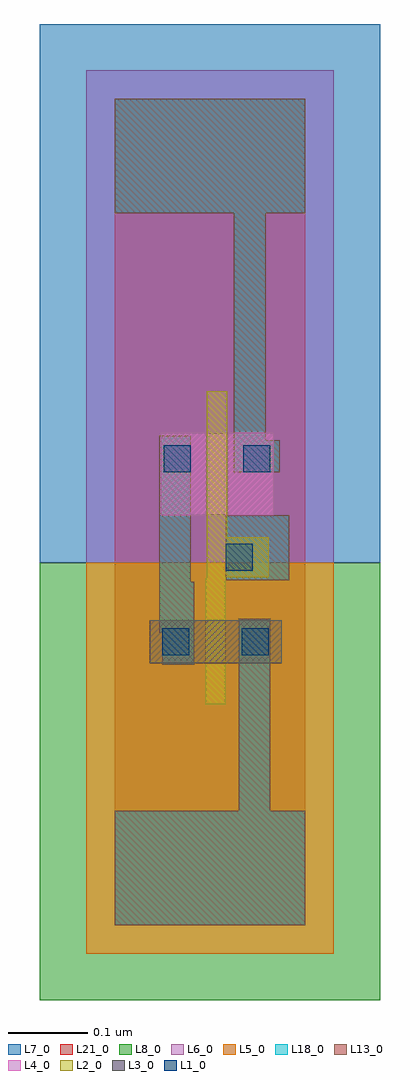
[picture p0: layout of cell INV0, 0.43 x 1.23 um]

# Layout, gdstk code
import gdstk
lib = gdstk.Library(unit=1e-6, precision=1e-09)
def R(c, l, rs):  # rectangles x0, y0, x1, y1
    for r in rs: c.add(gdstk.rectangle(r[:2], r[2:], *l))
L1_0 = (1, 0)
L2_0 = (2, 0)
L3_0 = (3, 0)
L4_0 = (4, 0)
L5_0 = (5, 0)
L6_0 = (6, 0)
L7_0 = (7, 0)
L8_0 = (8, 0)
L13_0 = (13, 0)
L18_0 = (18, 0)
L21_0 = (21, 0)

inv0 = lib.new_cell('INV0')
R(inv0, L1_0, [(0.06,0.34,0.094,0.374), (0.16,0.34,0.194,0.374), (0.14,0.446,0.174,0.48), (0.062,0.57,0.096,0.604), (0.162,0.57,0.196,0.604)])
R(inv0, L2_0, [(0.114,0.278,0.14,0.436), (0.116,0.412,0.14,0.462), (0.116,0.438,0.142,0.462), (0.118,0.438,0.142,0.462), (0.118,0.438,0.194,0.488), (0.116,0.464,0.142,0.672), (0.118,0.464,0.142,0.488)])
R(inv0, L3_0, [(0.044,0.33,0.11,0.384), (0.044,0.33,0.21,0.384), (0.144,0.33,0.21,0.384)])
R(inv0, L4_0, [(0.058,0.516,0.1,0.62), (0.058,0.516,0.2,0.62), (0.158,0.516,0.2,0.62)])
R(inv0, L5_0, [(-0.036,-0.036,0.276,0.456)])
R(inv0, L6_0, [(-0.036,0.456,0.276,1.076)])
R(inv0, L7_0, [(-0.094,0.456,0.334,1.134)])
R(inv0, L8_0, [(-0.094,-0.094,0.334,0.456)])
R(inv0, L13_0, [(0,0,0.24,0.144), (0.156,0.104,0.196,0.144), (0.156,0.104,0.196,0.144), (0.156,0.104,0.196,0.144), (0.156,0.104,0.196,0.144), (0.156,0.104,0.196,0.144), (0.156,0.104,0.196,0.144), (0.156,0.104,0.196,0.368), (0.06,0.328,0.1,0.386), (0.156,0.328,0.196,0.386), (0.06,0.346,0.1,0.408), (0.056,0.368,0.1,0.432), (0.056,0.392,0.096,0.432), (0.056,0.392,0.096,0.432), (0.056,0.392,0.096,0.598), (0.14,0.434,0.22,0.516), (0.056,0.558,0.096,0.616), (0.15,0.57,0.19,0.936), (0.15,0.57,0.208,0.61), (0,0.896,0.24,1.04), (0.15,0.896,0.19,0.936), (0.15,0.896,0.19,0.936), (0.15,0.896,0.19,0.936), (0.15,0.896,0.19,0.936), (0.15,0.896,0.19,0.936), (0.15,0.896,0.19,0.936)])
R(inv0, L18_0, [(0,0,0.24,0.144), (0.156,0.104,0.196,0.144), (0.156,0.104,0.196,0.144), (0.156,0.104,0.196,0.144), (0.156,0.104,0.196,0.144), (0.156,0.104,0.196,0.144), (0.156,0.104,0.196,0.144), (0.156,0.104,0.196,0.368), (0.06,0.328,0.1,0.386), (0.156,0.328,0.196,0.386), (0.06,0.346,0.1,0.408), (0.056,0.368,0.1,0.432), (0.06,0.38,0.1,0.42), (0.056,0.392,0.096,0.432), (0.056,0.392,0.096,0.432), (0.056,0.392,0.096,0.598), (0.14,0.434,0.22,0.516), (0.14,0.46,0.18,0.5), (0.056,0.558,0.096,0.616), (0.15,0.57,0.208,0.61), (0.15,0.57,0.19,0.936), (0,0.896,0.24,1.04), (0.15,0.896,0.19,0.936), (0.15,0.896,0.19,0.936), (0.15,0.896,0.19,0.936), (0.15,0.896,0.19,0.936), (0.15,0.896,0.19,0.936), (0.15,0.896,0.19,0.936)])
R(inv0, L21_0, [(0,0,0.24,1.04)])

lib.write_gds('INV0.gds')
